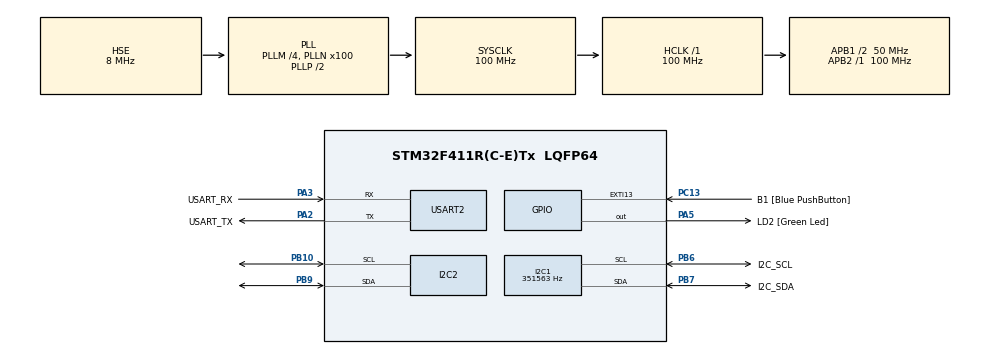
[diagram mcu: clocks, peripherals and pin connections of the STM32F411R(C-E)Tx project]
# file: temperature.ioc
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I2C1.ClockSpeed=351563
I2C1.DualAddressMode=I2C_DUALADDRESS_DISABLE
I2C1.DutyCycle=I2C_DUTYCYCLE_16_9
I2C1.GeneralCallMode=I2C_GENERALCALL_DISABLE
I2C1.I2C_Mode=I2C_Fast
I2C1.NoStretchMode=I2C_NOSTRETCH_DISABLE
I2C1.OwnAddress=69
I2C2.I2C_Mode=I2C_Fast
I2C2.NoStretchMode=I2C_NOSTRETCH_DISABLE
Mcu.Family=STM32F4
Mcu.Name=STM32F411R(C-E)Tx
Mcu.Package=LQFP64
NVIC.I2C1_ER_IRQn=true\:0\:0\:false\:true\:true\:1\:true\:true
NVIC.I2C1_EV_IRQn=true\:0\:0\:true\:true\:true\:2\:true\:true
NVIC.PriorityGroup=NVIC_PRIORITYGROUP_0
PA13.GPIO_Label=TMS
PA13.Mode=Serial_Wire
PA13.Signal=SYS_JTMS-SWDIO
PA14.GPIO_Label=TCK
PA14.Mode=Serial_Wire
PA14.Signal=SYS_JTCK-SWCLK
PA2.GPIO_Label=USART_TX
PA2.Mode=Asynchronous
PA2.Signal=USART2_TX
PA3.GPIO_Label=USART_RX
PA3.Mode=Asynchronous
PA3.Signal=USART2_RX
PA5.GPIO_Label=LD2 [Green Led]
PA5.Signal=GPIO_Output
PB10.Mode=I2C
PB10.Signal=I2C2_SCL
PB3.GPIO_Label=SWO
PB3.Signal=SYS_JTDO-SWO
PB6.GPIO_Label=I2C_SCL
PB6.GPIO_PuPdOD=GPIO_NOPULL
PB6.Mode=I2C
PB6.Signal=I2C1_SCL
PB7.GPIO_Label=I2C_SDA
PB7.GPIO_PuPdOD=GPIO_NOPULL
PB7.Mode=I2C
PB7.Signal=I2C1_SDA
PB9.Mode=I2C
PB9.Signal=I2C2_SDA
PC13-ANTI_TAMP.GPIO_Label=B1 [Blue PushButton]
PC13-ANTI_TAMP.GPIO_ModeDefaultEXTI=GPIO_MODE_IT_FALLING
PC13-ANTI_TAMP.Signal=GPXTI13
PC14-OSC32_IN.Mode=LSE-External-Oscillator
PC14-OSC32_IN.Signal=RCC_OSC32_IN
PC15-OSC32_OUT.Mode=LSE-External-Oscillator
PC15-OSC32_OUT.Signal=RCC_OSC32_OUT
PH0\ -\ OSC_IN.Mode=HSE-External-Clock-Source
PH0\ -\ OSC_IN.Signal=RCC_OSC_IN
PH1\ -\ OSC_OUT.Mode=HSE-External-Clock-Source
PH1\ -\ OSC_OUT.Signal=RCC_OSC_OUT
ProjectManager.HeapSize=0x200
ProjectManager.StackSize=0x400
ProjectManager.TargetToolchain=Makefile
RCC.48MHZClocksFreq_Value=50000000
RCC.AHBFreq_Value=100000000
RCC.APB1CLKDivider=RCC_HCLK_DIV2
RCC.APB1Freq_Value=50000000
RCC.APB1TimFreq_Value=100000000
RCC.APB2Freq_Value=100000000
RCC.APB2TimFreq_Value=100000000
RCC.CortexFreq_Value=100000000
RCC.FLatency-AdvancedSettings=FLASH_LATENCY_3
RCC.HCLKFreq_Value=100000000
RCC.HSE_VALUE=8000000
RCC.HSI_VALUE=16000000
RCC.PLLM=4
RCC.PLLN=100
RCC.PLLSourceVirtual=RCC_PLLSOURCE_HSE
RCC.SYSCLKFreq_VALUE=100000000
RCC.SYSCLKSource=RCC_SYSCLKSOURCE_PLLCLK
RCC.VCOOutputFreq_Value=200000000
USART2.VirtualMode=VM_ASYNC
board=NUCLEO-F411RE

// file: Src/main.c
/* USER CODE BEGIN Header */
/**
 ******************************************************************************
 * @file           : main.c
 * @brief          : Main program body
 ******************************************************************************
 * @attention
 *
 * <h2><center>&copy; Copyright (c) 2019 STMicroelectronics.
 * All rights reserved.</center></h2>
 *
 * This software component is licensed by ST under BSD 3-Clause license,
 * the "License"; You may not use this file except in compliance with the
 * License. You may obtain a copy of the License at:
 *                        opensource.org/licenses/BSD-3-Clause
 *
 ******************************************************************************
 */
/* USER CODE END Header */

#include "main.h"

/* USER CODE BEGIN Includes */
#include <stdio.h>
#include <stdlib.h>
#include <string.h>
#include <temperature.h>
/* USER CODE END Includes */

I2C_HandleTypeDef hi2c1;
I2C_HandleTypeDef hi2c2;

UART_HandleTypeDef huart2;

/* USER CODE BEGIN PV */
uint8_t temp_buffer_i = 0;
uint16_t temp_buffer[TEMP_SENSOR_COUNT][TEMP_SAMPLE_COUNT] = {0};

temperature_t temps = {.values = {0}, .min = {UINT8_MAX}, .max = {0}};

uint32_t temp_timer = 0;

uint8_t rx;
uint8_t flag = 0;
/* USER CODE END PV */

void SystemClock_Config(void);
static void MX_GPIO_Init(void);
static void MX_I2C1_Init(void);
static void MX_USART2_UART_Init(void);
static void MX_I2C2_Init(void);
static void MX_NVIC_Init(void);
/* USER CODE BEGIN PFP */
void get_temp_maxmin();
/* USER CODE END PFP */

int main(void) {

	/* MCU
	 * Configuration--------------------------------------------------------*/

	/* Reset of all peripherals, Initializes the Flash interface and the
	 * Systick. */
	HAL_Init();

	/* Configure the system clock */
	SystemClock_Config();

	/* Initialize all configured peripherals */
	MX_GPIO_Init();
	MX_I2C1_Init();
	MX_USART2_UART_Init();
	MX_I2C2_Init();

	/* Initialize interrupts */
	MX_NVIC_Init();

	/* Infinite loop */
	/* USER CODE BEGIN WHILE */
	HAL_I2C_EnableListen_IT(&hi2c1);
	while (1) {
		/* USER CODE END WHILE */

		/* USER CODE BEGIN 3 */
		// Read temperatures
		if (HAL_GetTick() - temp_timer >= TEMP_READ_INTERVAL) {
			temp_timer = HAL_GetTick();

			I2C_HandleTypeDef *buses[TEMP_BUS_COUNT] = {&hi2c2};
			temperature_read_sample(buses, temp_buffer[temp_buffer_i++]);

			if (temp_buffer_i == TEMP_SAMPLE_COUNT) {
				temp_buffer_i = 0;

				// Compute average
				temperature_get_average(temp_buffer, temps.values);

				temperature_get_extremes(temps.values, temps.min, temps.max);
			}
		}

		if (flag == 1) {
			flag = 0;

			char k[255];
			sprintf(k, "%d %d %d %d\r\n", temps.max[0], temps.max[1],
					temps.min[0], temps.min[1]);
			HAL_UART_Transmit(&huart2, (uint8_t *)k, strlen(k), 10);
		}
	}
	/* USER CODE END 3 */
}

void SystemClock_Config(void) {
	RCC_OscInitTypeDef RCC_OscInitStruct = {0};
	RCC_ClkInitTypeDef RCC_ClkInitStruct = {0};

	/** Configure the main internal regulator output voltage
	 */
	__HAL_RCC_PWR_CLK_ENABLE();
	__HAL_PWR_VOLTAGESCALING_CONFIG(PWR_REGULATOR_VOLTAGE_SCALE1);
	/** Initializes the CPU, AHB and APB busses clocks
	 */
	RCC_OscInitStruct.OscillatorType = RCC_OSCILLATORTYPE_HSE;
	RCC_OscInitStruct.HSEState = RCC_HSE_BYPASS;
	RCC_OscInitStruct.PLL.PLLState = RCC_PLL_ON;
	RCC_OscInitStruct.PLL.PLLSource = RCC_PLLSOURCE_HSE;
	RCC_OscInitStruct.PLL.PLLM = 4;
	RCC_OscInitStruct.PLL.PLLN = 100;
	RCC_OscInitStruct.PLL.PLLP = RCC_PLLP_DIV2;
	RCC_OscInitStruct.PLL.PLLQ = 4;
	if (HAL_RCC_OscConfig(&RCC_OscInitStruct) != HAL_OK) {
		Error_Handler();
	}
	/** Initializes the CPU, AHB and APB busses clocks
	 */
	RCC_ClkInitStruct.ClockType = RCC_CLOCKTYPE_HCLK | RCC_CLOCKTYPE_SYSCLK |
								  RCC_CLOCKTYPE_PCLK1 | RCC_CLOCKTYPE_PCLK2;
	RCC_ClkInitStruct.SYSCLKSource = RCC_SYSCLKSOURCE_PLLCLK;
	RCC_ClkInitStruct.AHBCLKDivider = RCC_SYSCLK_DIV1;
	RCC_ClkInitStruct.APB1CLKDivider = RCC_HCLK_DIV2;
	RCC_ClkInitStruct.APB2CLKDivider = RCC_HCLK_DIV1;

	if (HAL_RCC_ClockConfig(&RCC_ClkInitStruct, FLASH_LATENCY_3) != HAL_OK) {
		Error_Handler();
	}
}

/**
 * @brief NVIC Configuration.
 * @retval None
 */
static void MX_NVIC_Init(void) {
	/* I2C1_ER_IRQn interrupt configuration */
	HAL_NVIC_SetPriority(I2C1_ER_IRQn, 0, 0);
	HAL_NVIC_EnableIRQ(I2C1_ER_IRQn);
	/* I2C1_EV_IRQn interrupt configuration */
	HAL_NVIC_SetPriority(I2C1_EV_IRQn, 0, 0);
	HAL_NVIC_EnableIRQ(I2C1_EV_IRQn);
}

static void MX_I2C1_Init(void) {

	hi2c1.Instance = I2C1;
	hi2c1.Init.ClockSpeed = 351563;
	hi2c1.Init.DutyCycle = I2C_DUTYCYCLE_16_9;
	hi2c1.Init.OwnAddress1 = 138;
	hi2c1.Init.AddressingMode = I2C_ADDRESSINGMODE_7BIT;
	hi2c1.Init.DualAddressMode = I2C_DUALADDRESS_DISABLE;
	hi2c1.Init.OwnAddress2 = 0;
	hi2c1.Init.GeneralCallMode = I2C_GENERALCALL_DISABLE;
	hi2c1.Init.NoStretchMode = I2C_NOSTRETCH_DISABLE;
	if (HAL_I2C_Init(&hi2c1) != HAL_OK) {
		Error_Handler();
	}
}

static void MX_I2C2_Init(void) {

	hi2c2.Instance = I2C2;
	hi2c2.Init.ClockSpeed = 400000;
	hi2c2.Init.DutyCycle = I2C_DUTYCYCLE_16_9;
	hi2c2.Init.OwnAddress1 = 0;
	hi2c2.Init.AddressingMode = I2C_ADDRESSINGMODE_7BIT;
	hi2c2.Init.DualAddressMode = I2C_DUALADDRESS_DISABLE;
	hi2c2.Init.OwnAddress2 = 0;
	hi2c2.Init.GeneralCallMode = I2C_GENERALCALL_DISABLE;
	hi2c2.Init.NoStretchMode = I2C_NOSTRETCH_ENABLE;
	if (HAL_I2C_Init(&hi2c2) != HAL_OK) {
		Error_Handler();
	}
}

static void MX_USART2_UART_Init(void) {

	huart2.Instance = USART2;
	huart2.Init.BaudRate = 115200;
	huart2.Init.WordLength = UART_WORDLENGTH_8B;
	huart2.Init.StopBits = UART_STOPBITS_1;
	huart2.Init.Parity = UART_PARITY_NONE;
	huart2.Init.Mode = UART_MODE_TX_RX;
	huart2.Init.HwFlowCtl = UART_HWCONTROL_NONE;
	huart2.Init.OverSampling = UART_OVERSAMPLING_16;
	if (HAL_UART_Init(&huart2) != HAL_OK) {
		Error_Handler();
	}
}

static void MX_GPIO_Init(void) {
	GPIO_InitTypeDef GPIO_InitStruct = {0};

	/* GPIO Ports Clock Enable */
	__HAL_RCC_GPIOC_CLK_ENABLE();
	__HAL_RCC_GPIOH_CLK_ENABLE();
	__HAL_RCC_GPIOA_CLK_ENABLE();
	__HAL_RCC_GPIOB_CLK_ENABLE();

	/*Configure GPIO pin Output Level */
	HAL_GPIO_WritePin(LD2_GPIO_Port, LD2_Pin, GPIO_PIN_RESET);

	/*Configure GPIO pin : B1_Pin */
	GPIO_InitStruct.Pin = B1_Pin;
	GPIO_InitStruct.Mode = GPIO_MODE_IT_FALLING;
	GPIO_InitStruct.Pull = GPIO_NOPULL;
	HAL_GPIO_Init(B1_GPIO_Port, &GPIO_InitStruct);

	/*Configure GPIO pin : LD2_Pin */
	GPIO_InitStruct.Pin = LD2_Pin;
	GPIO_InitStruct.Mode = GPIO_MODE_OUTPUT_PP;
	GPIO_InitStruct.Pull = GPIO_NOPULL;
	GPIO_InitStruct.Speed = GPIO_SPEED_FREQ_LOW;
	HAL_GPIO_Init(LD2_GPIO_Port, &GPIO_InitStruct);
}

/* USER CODE BEGIN 4 */

void fourtemps_threebytes(uint8_t temps[4], uint8_t out[3]) {
	out[0] = temps[0] << 2 | (temps[1] & 0b00111111) >> 4;
	out[1] = temps[1] << 4 | (temps[2] & 0b00111111) >> 2;
	out[2] = temps[2] << 6 | (temps[3] & 0b00111111);
}

void HAL_I2C_ListenCpltCallback(I2C_HandleTypeDef *hi2c) {
	flag = 1;
	HAL_I2C_EnableListen_IT(hi2c);	// slave is ready again
	HAL_GPIO_WritePin(LD2_GPIO_Port, LD2_Pin, GPIO_PIN_RESET);
}

void HAL_I2C_AddrCallback(I2C_HandleTypeDef *hi2c, uint8_t TransferDirection,
						  uint16_t AddrMatchCode) {
	HAL_GPIO_WritePin(LD2_GPIO_Port, LD2_Pin, GPIO_PIN_SET);

	if (TransferDirection == I2C_DIRECTION_TRANSMIT) {
		HAL_I2C_Slave_Seq_Receive_IT(hi2c, &rx, 1, I2C_NEXT_FRAME);
	} else {
		uint8_t tx[3] = {0};
		if (rx < TEMP_SENSOR_COUNT / 4) {
			fourtemps_threebytes(temps.values + rx * 4, tx);

		} else if (rx == 0xFF) {
			uint8_t tmp[4] = {temps.max[0], temps.max[1], temps.min[0],
							  temps.min[1]};
			fourtemps_threebytes(tmp, tx);
		}
		HAL_I2C_Slave_Seq_Transmit_IT(hi2c, tx, 3, I2C_LAST_FRAME);
	}
}

void HAL_I2C_SlaveRxCpltCallback(I2C_HandleTypeDef *hi2c) {
	HAL_I2C_Slave_Seq_Receive_IT(hi2c, &rx, 1, I2C_FIRST_FRAME);
}

void HAL_I2C_SlaveTxCpltCallback(I2C_HandleTypeDef *hi2c) {}

void HAL_I2C_ErrorCallback(I2C_HandleTypeDef *hi2c) {
	HAL_UART_Transmit(&huart2, (uint8_t *)"ERROR", 5, 10);
}

/* USER CODE END 4 */

void Error_Handler(void) {
	/* USER CODE BEGIN Error_Handler_Debug */
	/* User can add his own implementation to report the HAL error
	 * return state
	 */

	/* USER CODE END Error_Handler_Debug */
}

#ifdef USE_FULL_ASSERT
/**
 * @brief  Reports the name of the source file and the source line number
 *         where the assert_param error has occurred.
 * @param  file: pointer to the source file name
 * @param  line: assert_param error line source number
 * @retval None
 */
void assert_failed(uint8_t *file, uint32_t line) {
	/* USER CODE BEGIN 6 */
	/* User can add his own implementation to report the file name and
	   line number, tex: printf("Wrong parameters value: file %s on line
	   %d\r\n", file, line) */
	/* USER CODE END 6 */
}
#endif /* USE_FULL_ASSERT */

/************************ (C) COPYRIGHT STMicroelectronics *****END OF FILE****/
